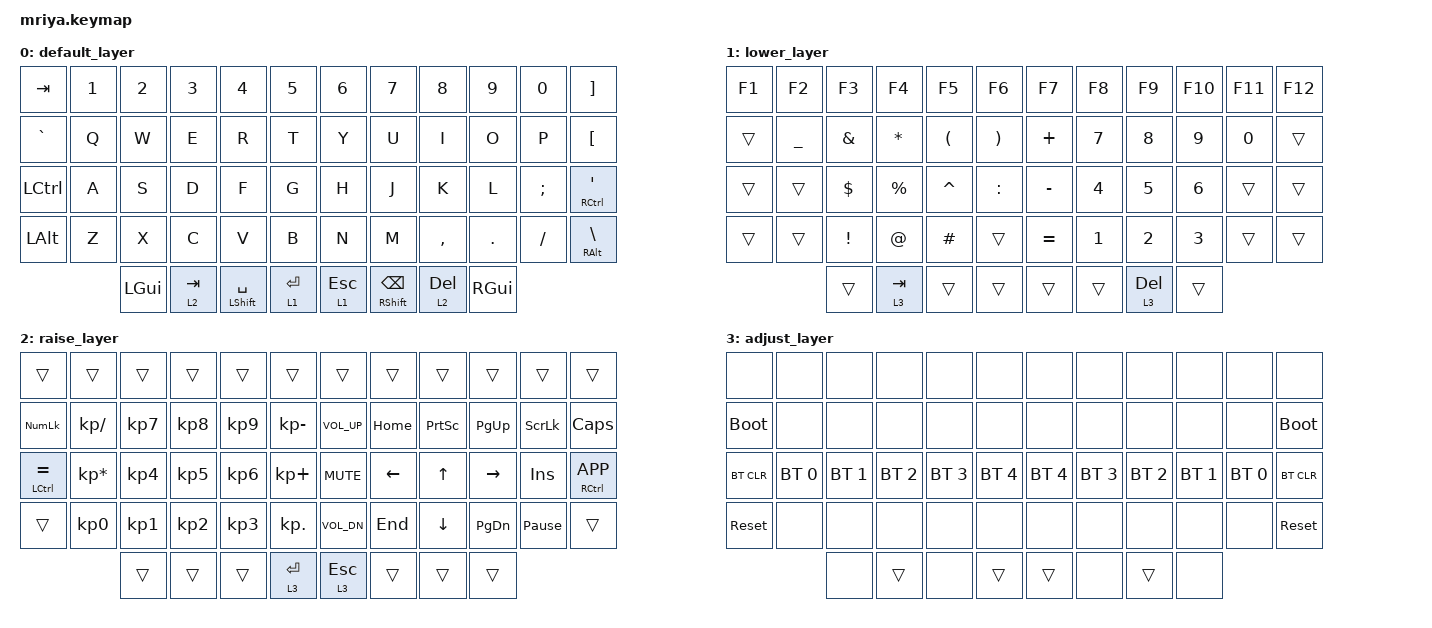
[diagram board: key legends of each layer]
/*
 * Copyright (c) 2023 Andrei Gaevskii
 *
 * SPDX-License-Identifier: MIT
 */

#include <behaviors.dtsi>
#include <dt-bindings/zmk/bt.h>
#include <dt-bindings/zmk/keys.h>

#define DEF 0
#define LWR 1
#define RSE 2
#define ADJ 3

&lt { quick_tap_ms = <200>; };

&mt { quick_tap_ms = <200>; };

/ {
    keymap {
        compatible = "zmk,keymap";

        default_layer {
            bindings = <
  &kp TAB    &kp N1  &kp N2    &kp N3     &kp N4           &kp N5       &kp N6     &kp N7          &kp N8     &kp N9    &kp N0    &kp RIGHT_BRACKET
  &kp GRAVE  &kp Q   &kp W     &kp E      &kp R            &kp T        &kp Y      &kp U           &kp I      &kp O     &kp P     &kp LBKT
  &kp LCTRL  &kp A   &kp S     &kp D      &kp F            &kp G        &kp H      &kp J           &kp K      &kp L     &kp SEMI  &mt RCTRL SQT
  &kp LALT   &kp Z   &kp X     &kp C      &kp V            &kp B        &kp N      &kp M           &kp COMMA  &kp DOT   &kp FSLH  &mt RALT BSLH
                     &kp LGUI  &lt 2 TAB  &mt LSHFT SPACE  &lt 1 RET    &lt 1 ESC  &mt RSHFT BSPC  &lt 2 DEL  &kp RGUI
            >;
        };

        lower_layer {
            bindings = <
  &kp F1  &kp F2          &kp F3           &kp F4        &kp F5                &kp F6                   &kp F7     &kp F8        &kp F9        &kp F10       &kp F11       &kp F12
  &trans  &kp UNDERSCORE  &kp AMPERSAND    &kp ASTERISK  &kp LEFT_PARENTHESIS  &kp RIGHT_PARENTHESIS    &kp PLUS   &kp NUMBER_7  &kp NUMBER_8  &kp NUMBER_9  &kp NUMBER_0  &trans
  &trans  &trans          &kp DOLLAR       &kp PERCENT   &kp CARET             &kp COLON                &kp MINUS  &kp NUMBER_4  &kp NUMBER_5  &kp NUMBER_6  &trans        &trans
  &trans  &trans          &kp EXCLAMATION  &kp AT_SIGN   &kp HASH              &trans                   &kp EQUAL  &kp NUMBER_1  &kp NUMBER_2  &kp NUMBER_3  &trans        &trans
                          &trans           &lt 3 TAB     &trans                &trans                   &trans     &trans        &lt 3 DEL     &trans
            >;
        };

        raise_layer {
            bindings = <
  &trans           &trans           &trans     &trans     &trans     &trans          &trans        &trans    &trans     &trans     &trans           &trans
  &kp KP_NUM       &kp KP_SLASH     &kp KP_N7  &kp KP_N8  &kp KP_N9  &kp KP_MINUS    &kp C_VOL_UP  &kp HOME  &kp PSCRN  &kp PG_UP  &kp SLCK         &kp CAPS
  &mt LCTRL EQUAL  &kp KP_MULTIPLY  &kp KP_N4  &kp KP_N5  &kp KP_N6  &kp KP_PLUS     &kp C_MUTE    &kp LEFT  &kp UP     &kp RIGHT  &kp INS          &mt RCTRL K_APP
  &trans           &kp KP_N0        &kp KP_N1  &kp KP_N2  &kp KP_N3  &kp KP_DOT      &kp C_VOL_DN  &kp END   &kp DOWN   &kp PG_DN  &kp PAUSE_BREAK  &trans
                                    &trans     &trans     &trans     &lt 3 RET       &lt 3 ESC     &trans    &trans     &trans
            >;
        };

        adjust_layer {
            bindings = <
  &none        &none         &none         &none         &none         &none           &none         &none         &none         &none         &none         &none
  &bootloader  &none         &none         &none         &none         &none           &none         &none         &none         &none         &none         &bootloader
  &bt BT_CLR   &bt BT_SEL 0  &bt BT_SEL 1  &bt BT_SEL 2  &bt BT_SEL 3  &bt BT_SEL 4    &bt BT_SEL 4  &bt BT_SEL 3  &bt BT_SEL 2  &bt BT_SEL 1  &bt BT_SEL 0  &bt BT_CLR
  &sys_reset   &none         &none         &none         &none         &none           &none         &none         &none         &none         &none         &sys_reset
                             &none         &trans        &none         &trans          &trans        &none         &trans        &none
            >;
        };
    };
};
